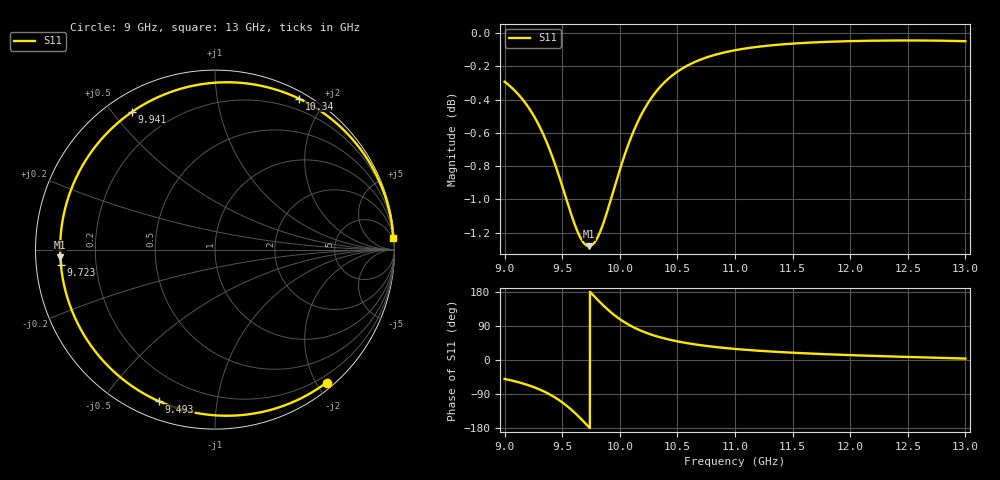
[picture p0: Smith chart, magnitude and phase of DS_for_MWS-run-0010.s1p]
! TOUCHSTONE file generated by CST DESIGN STUDIO
! Date and time: Wed Feb  5 13:38:25 2025
! Project name: C:\Work\MatlabApps\UnitCellOptimizationMatlab\CST\unitcell.cst
! Tree item: Tasks\Sweep1\SPara1\S-Parameters
! Header version: 2024
! Port assignment regex: !\s*Touchstone port\s*([0-9]+)\s*=\s*(CST MWS port|CST DES external port|CST DES block port)\s*(.+)\s* \(\"(.*)\"\)(\s*mode\s*([0-9]+))?.*
! Touchstone port assignment:
! Touchstone port 1 = CST DES external port 1 ("")
# GHz S MA R 50
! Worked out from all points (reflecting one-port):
!   4001 points, 9 GHz to 13 GHz, reference 50 ohm
!   lowest |S11| = -1.3 dB at 9.732 GHz (marker M1), VSWR 13.58, Z = 3.68 - j1.21 ohm
!   phase of S11 starts at -50 deg and turns -306 deg over the sweep
!   S11 on the Smith chart (normalised r, x): 9 GHz: 0.09, -2.14; 9.493 GHz: 0.08, -0.69; 9.723 GHz: 0.07, -0.05; 9.941 GHz: 0.07, +0.56; 10.34 GHz: 0.07, +1.70; 13 GHz: 3, +30
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9  0.9669 -50.0
9.136  0.957 -60.0
9.262  0.9432 -72.7
9.393  0.9222 -91.0
9.445  0.9117 -100.4
9.493  0.9011 -110.2
9.5  0.8996 -111.7
9.554  0.8874 -124.6
9.606  0.8765 -138.5
9.668  0.8667 -156.9
9.723  0.8629 -174.3
9.732  0.8628 -177.2
9.777  0.8648 168.3
9.823  0.8705 154.0
9.883  0.8821 136.4
9.941  0.8957 121.3
10  0.9097 107.8
10.075  0.926 93.5
10.166  0.942 79.6
10.249  0.9533 69.5
10.338  0.9625 60.9
10.5  0.9737 49.2
10.718  0.9824 38.4
11  0.9883 29.2
11.5  0.9928 19.2
12  0.9945 12.9
12.5  0.995 8.0
13  0.9945 3.7
